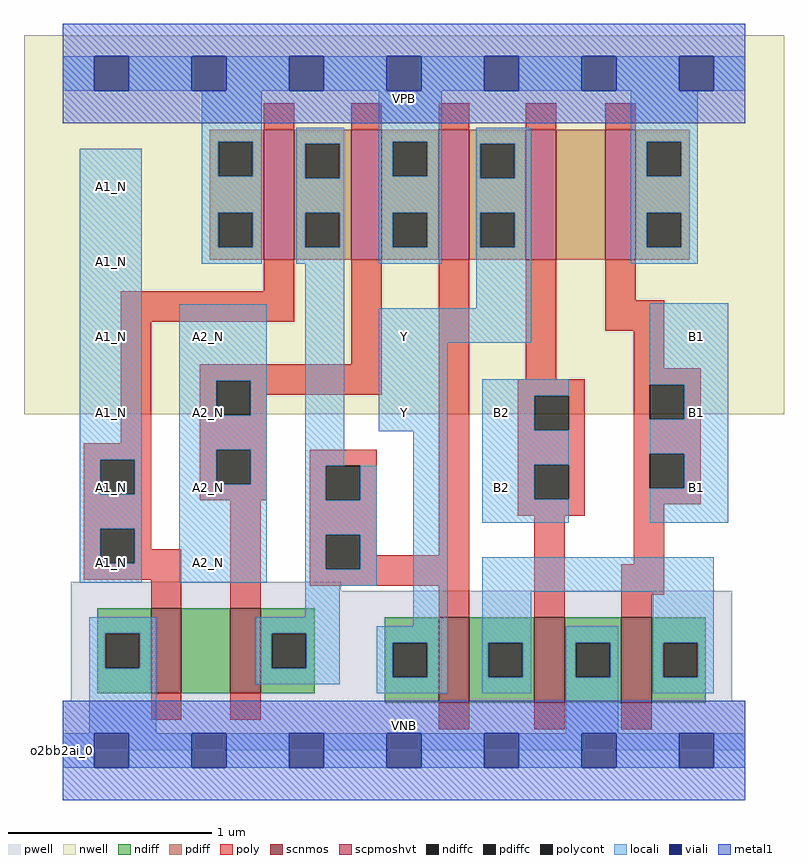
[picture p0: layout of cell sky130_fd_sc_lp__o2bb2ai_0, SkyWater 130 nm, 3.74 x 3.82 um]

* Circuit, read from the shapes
.subckt sky130_fd_sc_lp__o2bb2ai_0 A1_N A2_N B1 B2 VGND VNB VPB VPWR Y
XM1 n1 A1_N VGND VNB sky130_fd_pr__nfet_01v8 w=0.42 l=0.15
XM2 n2 A2_N n1 VNB sky130_fd_pr__nfet_01v8 w=0.42 l=0.15
XM3 n3 n2 Y VNB sky130_fd_pr__nfet_01v8 w=0.42 l=0.15
XM4 VGND B2 n3 VNB sky130_fd_pr__nfet_01v8 w=0.42 l=0.15
XM5 n3 B1 VGND VNB sky130_fd_pr__nfet_01v8 w=0.42 l=0.15
XM6 n2 A1_N VPWR VPB sky130_fd_pr__pfet_01v8_hvt w=0.64 l=0.15
XM7 VPWR A2_N n2 VPB sky130_fd_pr__pfet_01v8_hvt w=0.64 l=0.15
XM8 Y n2 VPWR VPB sky130_fd_pr__pfet_01v8_hvt w=0.64 l=0.15
XM9 n4 B2 Y VPB sky130_fd_pr__pfet_01v8_hvt w=0.64 l=0.15
XM10 VPWR B1 n4 VPB sky130_fd_pr__pfet_01v8_hvt w=0.64 l=0.15
.ends

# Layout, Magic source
magic
tech sky130A
magscale 1 2
<< nwell >>
rect -38 331 710 704
<< pwell >>
rect 8 157 274 166
rect 8 49 659 157
rect 0 0 672 49
<< scnmos >>
rect 87 56 117 140
rect 165 56 195 140
rect 370 47 400 131
rect 464 47 494 131
rect 550 47 580 131
<< scpmoshvt >>
rect 198 483 228 611
rect 284 483 314 611
rect 370 483 400 611
rect 456 483 486 611
rect 534 483 564 611
<< ndiff >>
rect 34 115 87 140
rect 34 81 42 115
rect 76 81 87 115
rect 34 56 87 81
rect 117 56 165 140
rect 195 115 248 140
rect 195 81 206 115
rect 240 81 248 115
rect 195 56 248 81
rect 317 106 370 131
rect 317 72 325 106
rect 359 72 370 106
rect 317 47 370 72
rect 400 106 464 131
rect 400 72 419 106
rect 453 72 464 106
rect 400 47 464 72
rect 494 106 550 131
rect 494 72 505 106
rect 539 72 550 106
rect 494 47 550 72
rect 580 106 633 131
rect 580 72 591 106
rect 625 72 633 106
rect 580 47 633 72
<< pdiff >>
rect 145 599 198 611
rect 145 565 153 599
rect 187 565 198 599
rect 145 529 198 565
rect 145 495 153 529
rect 187 495 198 529
rect 145 483 198 495
rect 228 597 284 611
rect 228 563 239 597
rect 273 563 284 597
rect 228 529 284 563
rect 228 495 239 529
rect 273 495 284 529
rect 228 483 284 495
rect 314 599 370 611
rect 314 565 325 599
rect 359 565 370 599
rect 314 529 370 565
rect 314 495 325 529
rect 359 495 370 529
rect 314 483 370 495
rect 400 597 456 611
rect 400 563 411 597
rect 445 563 456 597
rect 400 529 456 563
rect 400 495 411 529
rect 445 495 456 529
rect 400 483 456 495
rect 486 483 534 611
rect 564 599 617 611
rect 564 565 575 599
rect 609 565 617 599
rect 564 529 617 565
rect 564 495 575 529
rect 609 495 617 529
rect 564 483 617 495
<< ndiffc >>
rect 42 81 76 115
rect 206 81 240 115
rect 325 72 359 106
rect 419 72 453 106
rect 505 72 539 106
rect 591 72 625 106
<< pdiffc >>
rect 153 565 187 599
rect 153 495 187 529
rect 239 563 273 597
rect 239 495 273 529
rect 325 565 359 599
rect 325 495 359 529
rect 411 563 445 597
rect 411 495 445 529
rect 575 565 609 599
rect 575 495 609 529
<< poly >>
rect 198 611 228 637
rect 284 611 314 637
rect 370 611 400 637
rect 456 611 486 637
rect 534 611 564 637
rect 198 452 228 483
rect 57 422 228 452
rect 57 302 87 422
rect 284 380 314 483
rect 21 286 87 302
rect 21 252 37 286
rect 71 252 87 286
rect 21 218 87 252
rect 135 364 314 380
rect 135 330 151 364
rect 185 350 314 364
rect 185 330 201 350
rect 135 296 201 330
rect 135 262 151 296
rect 185 262 201 296
rect 135 246 201 262
rect 243 280 309 296
rect 243 246 259 280
rect 293 246 309 280
rect 21 184 37 218
rect 71 198 87 218
rect 71 184 117 198
rect 21 168 117 184
rect 87 140 117 168
rect 165 140 195 246
rect 243 212 309 246
rect 243 178 259 212
rect 293 192 309 212
rect 370 192 400 483
rect 456 365 486 483
rect 534 443 564 483
rect 534 413 592 443
rect 562 376 592 413
rect 448 349 514 365
rect 448 315 464 349
rect 498 315 514 349
rect 448 281 514 315
rect 448 247 464 281
rect 498 247 514 281
rect 448 231 514 247
rect 562 360 628 376
rect 562 326 578 360
rect 612 326 628 360
rect 562 292 628 326
rect 562 258 578 292
rect 612 258 628 292
rect 562 242 628 258
rect 293 178 400 192
rect 243 162 400 178
rect 370 131 400 162
rect 464 131 494 231
rect 562 183 592 242
rect 550 153 592 183
rect 550 131 580 153
rect 87 30 117 56
rect 165 30 195 56
rect 370 21 400 47
rect 464 21 494 47
rect 550 21 580 47
<< polycont >>
rect 37 252 71 286
rect 151 330 185 364
rect 151 262 185 296
rect 259 246 293 280
rect 37 184 71 218
rect 259 178 293 212
rect 464 315 498 349
rect 464 247 498 281
rect 578 326 612 360
rect 578 258 612 292
<< locali >>
rect 0 649 31 683
rect 65 649 127 683
rect 161 649 223 683
rect 257 649 319 683
rect 353 649 415 683
rect 449 649 511 683
rect 545 649 607 683
rect 641 649 672 683
rect 137 599 196 649
rect 17 286 78 592
rect 137 565 153 599
rect 187 565 196 599
rect 137 529 196 565
rect 137 495 153 529
rect 187 495 196 529
rect 137 479 196 495
rect 230 597 277 613
rect 230 563 239 597
rect 273 563 277 597
rect 230 529 277 563
rect 230 495 239 529
rect 273 495 277 529
rect 230 479 277 495
rect 311 599 373 649
rect 311 565 325 599
rect 359 565 373 599
rect 311 529 373 565
rect 311 495 325 529
rect 359 495 373 529
rect 311 479 373 495
rect 407 597 461 613
rect 407 563 411 597
rect 445 563 461 597
rect 407 529 461 563
rect 407 495 411 529
rect 445 495 461 529
rect 17 252 37 286
rect 71 252 78 286
rect 17 218 78 252
rect 17 184 37 218
rect 71 184 78 218
rect 17 165 78 184
rect 115 364 201 439
rect 115 330 151 364
rect 185 330 201 364
rect 115 296 201 330
rect 115 262 151 296
rect 185 262 201 296
rect 115 165 201 262
rect 239 280 277 479
rect 407 435 461 495
rect 559 599 625 649
rect 559 565 575 599
rect 609 565 625 599
rect 559 529 625 565
rect 559 495 575 529
rect 609 495 625 529
rect 559 479 625 495
rect 311 401 461 435
rect 311 314 379 401
rect 239 246 259 280
rect 293 246 309 280
rect 239 212 309 246
rect 239 178 259 212
rect 293 178 309 212
rect 239 162 309 178
rect 239 131 273 162
rect 26 115 92 131
rect 26 81 42 115
rect 76 81 92 115
rect 26 17 92 81
rect 190 115 273 131
rect 345 122 379 314
rect 413 349 498 365
rect 413 315 464 349
rect 413 281 498 315
rect 413 247 464 281
rect 413 224 498 247
rect 578 360 655 440
rect 612 326 655 360
rect 578 292 655 326
rect 612 258 655 292
rect 578 224 655 258
rect 190 81 206 115
rect 240 81 273 115
rect 190 65 273 81
rect 309 106 379 122
rect 309 72 325 106
rect 359 72 379 106
rect 309 56 379 72
rect 413 156 641 190
rect 413 106 461 156
rect 413 72 419 106
rect 453 72 461 106
rect 413 56 461 72
rect 495 106 547 122
rect 495 72 505 106
rect 539 72 547 106
rect 495 17 547 72
rect 581 106 641 156
rect 581 72 591 106
rect 625 72 641 106
rect 581 56 641 72
rect 0 -17 31 17
rect 65 -17 127 17
rect 161 -17 223 17
rect 257 -17 319 17
rect 353 -17 415 17
rect 449 -17 511 17
rect 545 -17 607 17
rect 641 -17 672 17
<< viali >>
rect 31 649 65 683
rect 127 649 161 683
rect 223 649 257 683
rect 319 649 353 683
rect 415 649 449 683
rect 511 649 545 683
rect 607 649 641 683
rect 31 -17 65 17
rect 127 -17 161 17
rect 223 -17 257 17
rect 319 -17 353 17
rect 415 -17 449 17
rect 511 -17 545 17
rect 607 -17 641 17
<< metal1 >>
rect 0 683 672 715
rect 0 649 31 683
rect 65 649 127 683
rect 161 649 223 683
rect 257 649 319 683
rect 353 649 415 683
rect 449 649 511 683
rect 545 649 607 683
rect 641 649 672 683
rect 0 617 672 649
rect 0 17 672 49
rect 0 -17 31 17
rect 65 -17 127 17
rect 161 -17 223 17
rect 257 -17 319 17
rect 353 -17 415 17
rect 449 -17 511 17
rect 545 -17 607 17
rect 641 -17 672 17
rect 0 -49 672 -17
<< labels >>
flabel pwell s 0 0 672 49 0 FreeSans 200 0 0 0 VNB
port 6 nsew ground bidirectional
flabel nwell s 0 617 672 666 0 FreeSans 200 0 0 0 VPB
port 7 nsew power bidirectional
rlabel comment s 0 0 0 0 4 o2bb2ai_0
flabel metal1 s 0 617 672 666 0 FreeSans 340 0 0 0 VPWR
port 8 nsew power bidirectional
flabel metal1 s 0 0 672 49 0 FreeSans 340 0 0 0 VGND
port 5 nsew ground bidirectional
flabel locali s 127 168 161 202 0 FreeSans 340 0 0 0 A2_N
port 2 nsew signal input
flabel locali s 127 242 161 276 0 FreeSans 340 0 0 0 A2_N
port 2 nsew signal input
flabel locali s 127 316 161 350 0 FreeSans 340 0 0 0 A2_N
port 2 nsew signal input
flabel locali s 127 390 161 424 0 FreeSans 340 0 0 0 A2_N
port 2 nsew signal input
flabel locali s 607 242 641 276 0 FreeSans 340 0 0 0 B1
port 3 nsew signal input
flabel locali s 607 316 641 350 0 FreeSans 340 0 0 0 B1
port 3 nsew signal input
flabel locali s 607 390 641 424 0 FreeSans 340 0 0 0 B1
port 3 nsew signal input
flabel locali s 319 316 353 350 0 FreeSans 340 0 0 0 Y
port 9 nsew signal output
flabel locali s 319 390 353 424 0 FreeSans 340 0 0 0 Y
port 9 nsew signal output
flabel locali s 415 242 449 276 0 FreeSans 340 0 0 0 B2
port 4 nsew signal input
flabel locali s 415 316 449 350 0 FreeSans 340 0 0 0 B2
port 4 nsew signal input
flabel locali s 31 168 65 202 0 FreeSans 340 0 0 0 A1_N
port 1 nsew signal input
flabel locali s 31 242 65 276 0 FreeSans 340 0 0 0 A1_N
port 1 nsew signal input
flabel locali s 31 316 65 350 0 FreeSans 340 0 0 0 A1_N
port 1 nsew signal input
flabel locali s 31 390 65 424 0 FreeSans 340 0 0 0 A1_N
port 1 nsew signal input
flabel locali s 31 464 65 498 0 FreeSans 340 0 0 0 A1_N
port 1 nsew signal input
flabel locali s 31 538 65 572 0 FreeSans 340 0 0 0 A1_N
port 1 nsew signal input
<< properties >>
string LEFsite unit
string LEFclass CORE
string FIXED_BBOX 0 0 672 666
string GDS_FILE $PDKPATH/libs.ref/sky130_fd_sc_lp/gds/sky130_fd_sc_lp.gds
string LEFsymmetry X Y R90
string GDS_END 4116010
string GDS_START 4108120
<< end >>
